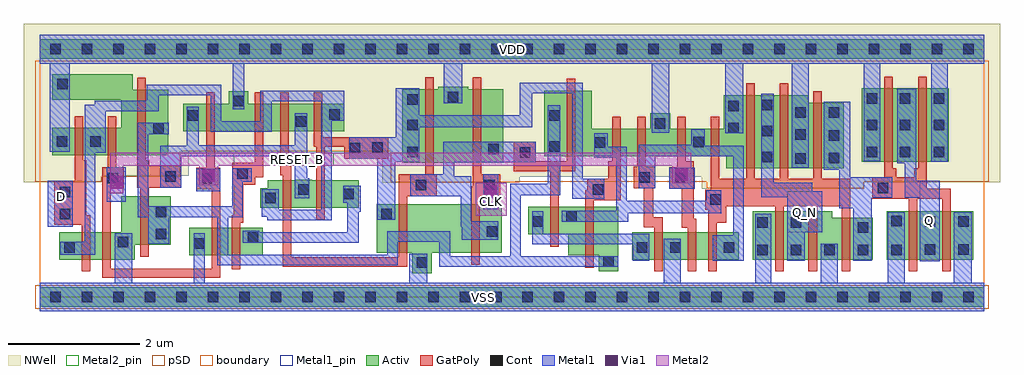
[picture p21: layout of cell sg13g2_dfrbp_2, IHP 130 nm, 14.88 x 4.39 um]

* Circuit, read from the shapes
.subckt sg13g2_dfrbp_2 CLK D Q Q_N RESET_B VDD VSS
XM1 n1 D n2 VSS sg13_lv_nmos w=0.42u l=0.13u
XM2 VSS RESET_B n1 VSS sg13_lv_nmos w=0.42u l=0.13u
XM3 n3 n4 VSS VSS sg13_lv_nmos w=0.74u l=0.13u
XM4 n5 RESET_B VSS VSS sg13_lv_nmos w=0.42u l=0.13u
XM5 n6 n3 n5 VSS sg13_lv_nmos w=0.42u l=0.13u
XM6 n4 n7 n2 VSS sg13_lv_nmos w=0.42u l=0.13u
XM7 n6 n8 n4 VSS sg13_lv_nmos w=0.42u l=0.13u
XM8 VSS n7 n8 VSS sg13_lv_nmos w=0.74u l=0.13u
XM9 n7 CLK VSS VSS sg13_lv_nmos w=0.74u l=0.13u
XM10 n9 n7 n10 VSS sg13_lv_nmos w=0.42u l=0.13u
XM11 n3 n8 n9 VSS sg13_lv_nmos w=0.74u l=0.13u
XM12 VSS n11 n10 VSS sg13_lv_nmos w=0.42u l=0.13u
XM13 n12 RESET_B VSS VSS sg13_lv_nmos w=0.42u l=0.13u
XM14 n11 n9 n12 VSS sg13_lv_nmos w=0.42u l=0.13u
XM15 Q_N n9 VSS VSS sg13_lv_nmos w=0.74u l=0.13u m=2
XM16 n13 n9 VSS VSS sg13_lv_nmos w=0.64u l=0.13u
XM17 Q n13 VSS VSS sg13_lv_nmos w=0.74u l=0.13u m=2
XM18 n2 D VDD VDD sg13_lv_pmos w=0.42u l=0.13u
XM19 VDD RESET_B n2 VDD sg13_lv_pmos w=0.42u l=0.13u
XM20 n3 n4 VDD VDD sg13_lv_pmos w=1u l=0.13u
XM21 VDD RESET_B n4 VDD sg13_lv_pmos w=0.42u l=0.13u
XM22 n14 n3 VDD VDD sg13_lv_pmos w=0.42u l=0.13u
XM23 n4 n7 n14 VDD sg13_lv_pmos w=0.42u l=0.13u
XM24 n2 n8 n4 VDD sg13_lv_pmos w=0.42u l=0.13u
XM25 VDD n7 n8 VDD sg13_lv_pmos w=1.12u l=0.13u
XM26 n7 CLK VDD VDD sg13_lv_pmos w=1.12u l=0.13u
XM27 n9 n7 n3 VDD sg13_lv_pmos w=1u l=0.13u
XM28 n15 n8 n9 VDD sg13_lv_pmos w=0.42u l=0.13u
XM29 VDD n11 n15 VDD sg13_lv_pmos w=0.42u l=0.13u
XM30 n11 RESET_B VDD VDD sg13_lv_pmos w=0.42u l=0.13u
XM31 VDD n9 n11 VDD sg13_lv_pmos w=0.42u l=0.13u
XM32 Q_N n9 VDD VDD sg13_lv_pmos w=1.12u l=0.13u m=2
XM33 n13 n9 VDD VDD sg13_lv_pmos w=1u l=0.13u
XM34 Q n13 VDD VDD sg13_lv_pmos w=1.12u l=0.13u m=2
.ends

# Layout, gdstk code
import gdstk
lib = gdstk.Library(unit=1e-6, precision=1e-09)
def R(c, l, rs):  # rectangles x0, y0, x1, y1
    for r in rs: c.add(gdstk.rectangle(r[:2], r[2:], *l))
def A(c, l, x, y, w, h, nx, ny, dx, dy):  # array of equal rectangles
    R(c, l, [(x+i*dx, y+j*dy, x+i*dx+w, y+j*dy+h) for i in range(nx) for j in range(ny)])
def P(c, l, *ps):  # polygons
    for p in ps: c.add(gdstk.Polygon(p, *l))
Activ = (1, 0)
GatPoly = (5, 0)
Cont = (6, 0)
Metal1 = (8, 0)
Metal1_pin = (8, 2)
Metal2 = (10, 0)
Metal2_pin = (10, 2)
pSD = (14, 0)
Via1 = (19, 0)
NWell = (31, 0)
boundary = (189, 4)

sg13g2_dfrbp_2 = lib.new_cell('sg13g2_dfrbp_2')
R(sg13g2_dfrbp_2, Activ, [(0,-0.15,14.4,0.15), (9.03,0.57,10.66,0.99), (12.91,0.57,14.23,1.31), (2.28,0.635,3.4,1.055), (12.535,2.06,13.86,3.18), (0,3.63,14.4,3.93)])
P(sg13g2_dfrbp_2, Activ, [(10.87,0.57),(10.87,1.31),(12.08,1.31),(12.08,1.21),(12.7,1.21),(12.7,0.57)],
  [(10.47,1.96),(10.47,2.145),(7.695,2.145),(7.695,3.145),(8.415,3.145),(8.415,2.565),(9.31,2.565),(9.31,2.8),(9.61,2.8),(9.61,2.565),(10.43,2.565),(10.43,3.08),(11.715,3.08),(11.715,2.96),(12.26,2.96),(12.26,1.96)],
  [(8.52,0.39),(8.52,0.635),(8.06,0.635),(8.06,0.955),(7.445,0.955),(7.445,1.375),(8.82,1.375),(8.82,0.39)],
  [(5.53,2.05),(5.53,3.17),(6.075,3.17),(6.075,3.205),(6.53,3.205),(6.53,3.17),(7.07,3.17),(7.07,2.05)],
  [(5.68,0.365),(5.68,0.675),(5.135,0.675),(5.135,1.415),(7.045,1.415),(7.045,0.675),(5.98,0.675),(5.98,0.365)],
  [(3.365,1.36),(3.365,1.66),(3.475,1.66),(3.475,1.78),(3.905,1.78),(3.905,1.79),(4.145,1.79),(4.145,1.78),(4.86,1.78),(4.86,1.36)],
  [(2.19,2.525),(2.19,2.945),(2.88,2.945),(2.88,3.14),(3.18,3.14),(3.18,2.945),(4.645,2.945),(4.645,2.525)],
  [(0.3,0.57),(0.3,0.99),(1.245,0.99),(1.245,1.535),(2,1.535),(2,0.795),(1.445,0.795),(1.445,0.57)],
  [(0.19,2.16),(0.19,2.58),(1.24,2.58),(1.24,3.01),(0.19,3.01),(0.19,3.395),(1.415,3.395),(1.415,3.16),(1.96,3.16),(1.96,2.16)])
P(sg13g2_dfrbp_2, GatPoly, [(13.25,0.39),(13.25,1.5),(12.69,1.5),(12.69,1.83),(12.875,1.83),(12.875,3.36),(13.005,3.36),(13.005,1.965),(13.06,1.965),(13.06,1.83),(13.33,1.83),(13.33,1.965),(13.39,1.965),(13.39,3.36),(13.52,3.36),(13.52,1.65),(13.89,1.65),(13.89,0.39),(13.76,0.39),(13.76,1.5),(13.38,1.5),(13.38,0.39)],
  [(10.19,0.39),(10.19,1.33),(10.15,1.33),(10.15,1.635),(10.23,1.635),(10.23,2.745),(10.36,2.745),(10.36,1.8),(10.77,1.8),(10.77,3.26),(10.9,3.26),(10.9,1.8),(11.28,1.8),(11.28,3.26),(11.41,3.26),(11.41,1.8),(11.79,1.8),(11.79,3.14),(11.92,3.14),(11.92,1.8),(12.36,1.8),(12.36,0.39),(12.23,0.39),(12.23,1.385),(11.85,1.385),(11.85,0.39),(11.72,0.39),(11.72,1.385),(11.34,1.385),(11.34,0.39),(11.21,0.39),(11.21,1.385),(10.465,1.385),(10.465,1.135),(10.32,1.135),(10.32,0.39)],
  [(9.88,0.39),(9.88,1.06),(9.785,1.06),(9.785,1.65),(9.595,1.65),(9.595,1.98),(9.72,1.98),(9.72,2.745),(9.85,2.745),(9.85,2.07),(9.97,2.07),(9.97,1.195),(10.01,1.195),(10.01,0.39)],
  [(9.37,0.39),(9.37,1.065),(9.205,1.065),(9.205,1.655),(9.055,1.655),(9.055,1.985),(9.11,1.985),(9.11,2.745),(9.24,2.745),(9.24,1.985),(9.385,1.985),(9.385,1.655),(9.355,1.655),(9.355,1.215),(9.5,1.215),(9.5,0.39)],
  [(8.32,0.445),(8.32,1.625),(8.345,1.625),(8.345,1.805),(8.665,1.805),(8.665,2.07),(8.73,2.07),(8.73,2.745),(8.86,2.745),(8.86,1.475),(8.45,1.475),(8.45,0.445)],
  [(7.785,0.765),(7.785,1.92),(7.23,1.92),(7.23,2.37),(7.56,2.37),(7.56,2.07),(8.035,2.07),(8.035,3.325),(8.165,3.325),(8.165,1.92),(7.915,1.92),(7.915,0.765)],
  [(6.575,0.495),(6.575,1.69),(6.6,1.69),(6.6,3.35),(6.73,3.35),(6.73,1.87),(7.02,1.87),(7.02,1.54),(6.705,1.54),(6.705,0.495)],
  [(3.705,0.465),(3.705,1.855),(3.665,1.855),(3.665,3.125),(3.795,3.125),(3.795,2.005),(3.835,2.005),(3.835,0.605),(5.475,0.605),(5.475,1.87),(5.875,1.87),(5.875,3.35),(6.005,3.35),(6.005,1.87),(6.05,1.87),(6.05,1.54),(5.605,1.54),(5.605,0.465)],
  [(4.215,1.18),(4.215,2.29),(4.175,2.29),(4.175,3.125),(4.305,3.125),(4.305,2.44),(5.315,2.44),(5.315,2.11),(4.645,2.11),(4.645,2.29),(4.345,2.29),(4.345,1.18)],
  [(2.93,0.425),(2.93,1.25),(2.955,1.25),(2.955,1.715),(2.935,1.715),(2.935,2.045),(3.275,2.045),(3.275,3.125),(3.405,3.125),(3.405,1.83),(3.285,1.83),(3.285,1.715),(3.105,1.715),(3.105,1.13),(3.06,1.13),(3.06,0.425)],
  [(0.95,0.295),(0.95,1.98),(1.04,1.98),(1.04,2.76),(1.17,2.76),(1.17,1.98),(1.28,1.98),(1.28,1.65),(1.08,1.65),(1.08,0.43),(2.62,0.43),(2.62,1.645),(2.385,1.645),(2.385,1.975),(2.54,1.975),(2.54,3.125),(2.67,3.125),(2.67,1.975),(2.75,1.975),(2.75,0.295)],
  [(1.53,0.615),(1.53,1.67),(1.49,1.67),(1.49,3.34),(1.62,3.34),(1.62,2.085),(1.67,2.085),(1.67,2),(2.155,2),(2.155,1.67),(1.66,1.67),(1.66,0.615)],
  [(0.64,0.39),(0.64,1.1),(0.22,1.1),(0.22,1.77),(0.53,1.77),(0.53,2.76),(0.66,2.76),(0.66,2.085),(0.71,2.085),(0.71,1.25),(0.77,1.25),(0.77,0.39)])
A(sg13g2_dfrbp_2, Cont, 0.16, -0.08, 0.16, 0.16, 30, 2, 0.48, 3.78)
A(sg13g2_dfrbp_2, Cont, 10.94, 0.64, 0.16, 0.16, 5, 1, 0.51, 0)
A(sg13g2_dfrbp_2, Cont, 12.03, 2.04, 0.16, 0.16, 1, 3, 0, 0.345)
A(sg13g2_dfrbp_2, Cont, 12.605, 2.135, 0.16, 0.16, 1, 3, 0, 0.405)
A(sg13g2_dfrbp_2, Cont, 13.115, 2.135, 0.16, 0.16, 1, 3, 0, 0.405)
A(sg13g2_dfrbp_2, Cont, 13.63, 2.135, 0.16, 0.16, 1, 3, 0, 0.405)
R(sg13g2_dfrbp_2, Cont, [(5.75,0.445,5.91,0.605), (8.59,0.465,8.75,0.625), (13.49,0.645,13.65,0.805), (14,0.645,14.16,0.805), (0.37,0.675,0.53,0.835), (9.1,0.675,9.26,0.835), (9.61,0.675,9.77,0.835), (10.43,0.675,10.59,0.835), (2.35,0.735,2.51,0.895), (1.19,0.76,1.35,0.92), (3.17,0.825,3.33,0.985), (1.77,0.88,1.93,1.04), (6.815,0.92,6.975,1.08), (12.47,0.98,12.63,1.14), (10.94,1.055,11.1,1.215), (11.45,1.055,11.61,1.215), (13.49,1.07,13.65,1.23), (7.515,1.075,7.675,1.235), (14,1.075,14.16,1.235), (12.98,1.08,13.14,1.24), (8.025,1.145,8.185,1.305), (0.305,1.185,0.465,1.345), (5.205,1.185,5.365,1.345), (1.77,1.22,1.93,1.38), (10.22,1.405,10.38,1.565), (3.435,1.43,3.595,1.59), (4.63,1.49,4.79,1.65), (0.305,1.525,0.465,1.685), (3.945,1.56,4.105,1.72), (8.43,1.56,8.59,1.72), (12.775,1.585,12.935,1.745), (5.735,1.625,5.895,1.785), (6.775,1.625,6.935,1.785), (2.47,1.73,2.63,1.89), (1.035,1.735,1.195,1.895), (9.68,1.735,9.84,1.895), (9.14,1.74,9.3,1.9), (1.91,1.755,2.07,1.915), (3.01,1.8,3.17,1.96), (11.52,2.035,11.68,2.195), (11.01,2.055,11.17,2.215), (7.315,2.125,7.475,2.285), (5.6,2.135,5.76,2.295), (6.84,2.175,7,2.335), (4.73,2.195,4.89,2.355), (5.07,2.2,5.23,2.36), (7.765,2.215,7.925,2.375), (8.46,2.275,8.62,2.435), (9.96,2.285,10.12,2.445), (0.26,2.29,0.42,2.45), (0.77,2.295,0.93,2.455), (11.52,2.395,11.68,2.555), (11.01,2.455,11.17,2.615), (1.73,2.49,1.89,2.65), (10.5,2.495,10.66,2.655), (5.6,2.54,5.76,2.7), (9.38,2.565,9.54,2.725), (3.905,2.595,4.065,2.755), (2.26,2.69,2.42,2.85), (7.765,2.69,7.925,2.85), (4.415,2.705,4.575,2.865), (11.52,2.735,11.68,2.895), (10.5,2.835,10.66,2.995), (11.01,2.845,11.17,3.005), (2.95,2.91,3.11,3.07), (5.6,2.935,5.76,3.095), (6.22,2.97,6.38,3.13), (0.265,3.165,0.425,3.325)])
R(sg13g2_dfrbp_2, Metal1, [(0.125,1.07,0.5,1.77), (6.76,1.335,6.99,1.87), (1.025,1.45,1.315,1.98), (2.385,1.61,2.755,1.955), (9.595,1.65,9.985,1.97)])
P(sg13g2_dfrbp_2, Metal1, [(0,-0.22),(0,0.22),(1.14,0.22),(1.14,0.975),(1.41,0.975),(1.41,0.22),(2.345,0.22),(2.345,0.97),(2.515,0.97),(2.515,0.22),(5.635,0.22),(5.635,0.66),(5.91,0.66),(5.91,0.22),(9.51,0.22),(9.51,0.885),(9.77,0.885),(9.77,0.22),(10.91,0.22),(10.91,1.27),(11.155,1.27),(11.155,0.22),(11.91,0.22),(11.91,0.81),(12.17,0.81),(12.17,0.22),(12.93,0.22),(12.93,1.29),(13.19,1.29),(13.19,0.22),(13.935,0.22),(13.935,1.295),(14.21,1.295),(14.21,0.22),(14.4,0.22),(14.4,-0.22)],
  [(11.465,1.975),(11.465,3.56),(10.725,3.56),(10.725,2.495),(10.45,2.495),(10.45,3.56),(9.595,3.56),(9.595,2.505),(9.33,2.505),(9.33,3.56),(6.445,3.56),(6.445,2.955),(6.16,2.955),(6.16,3.56),(3.115,3.56),(3.115,2.86),(2.945,2.86),(2.945,3.56),(0.46,3.56),(0.46,2.215),(0.15,2.215),(0.15,3.56),(0,3.56),(0,4),(14.4,4),(14.4,3.56),(13.84,3.56),(13.84,2.06),(13.59,2.06),(13.59,3.56),(12.815,3.56),(12.815,2.07),(12.56,2.07),(12.56,3.56),(11.725,3.56),(11.725,1.975)],
  [(13.42,0.545),(13.42,1.515),(13.19,1.515),(13.19,2.04),(13.07,2.04),(13.07,3.175),(13.36,3.175),(13.36,1.775),(13.72,1.775),(13.72,0.545)],
  [(12.4,0.55),(12.4,1.355),(12.19,1.355),(12.19,1.94),(11.95,1.94),(11.95,2.98),(12.36,2.98),(12.36,1.83),(13,1.83),(13,1.515),(12.685,1.515),(12.685,0.55)],
  [(11.395,0.55),(11.395,1.52),(11,1.52),(11,3.1),(11.19,3.1),(11.19,1.74),(11.78,1.74),(11.78,1.61),(11.93,1.61),(11.93,0.99),(11.66,0.99),(11.66,0.55)],
  [(10.26,0.55),(10.26,0.945),(10.57,0.945),(10.57,2.15),(9.385,2.15),(9.385,1.655),(9.13,1.655),(9.13,2.32),(9.935,2.32),(9.935,2.555),(10.14,2.555),(10.14,2.31),(10.73,2.31),(10.73,0.55)],
  [(7.96,1.145),(7.96,1.315),(8.79,1.315),(8.79,2.125),(8.455,2.125),(8.455,2.5),(8.66,2.5),(8.66,2.295),(8.95,2.295),(8.95,1.465),(10.165,1.465),(10.165,1.625),(10.39,1.625),(10.39,1.275),(8.97,1.275),(8.97,1.145)],
  [(9.04,0.55),(9.04,0.805),(7.51,0.805),(7.51,1.31),(7.68,1.31),(7.68,0.965),(9.29,0.965),(9.29,0.55)],
  [(6.09,0.465),(6.09,0.84),(5.455,0.84),(5.455,0.485),(2.705,0.485),(2.705,1.215),(1.975,1.215),(1.975,0.815),(1.655,0.815),(1.655,1.215),(1.495,1.215),(1.495,2.655),(1.97,2.655),(1.97,2.485),(1.655,2.485),(1.655,1.385),(2.935,1.385),(2.935,1.965),(3.23,1.965),(3.23,1.755),(3.095,1.755),(3.095,1.215),(2.875,1.215),(2.875,0.645),(5.295,0.645),(5.295,1),(6.255,1),(6.255,0.625),(7.17,0.625),(7.17,1.725),(7.745,1.725),(7.745,2.925),(7.935,2.925),(7.935,1.555),(7.33,1.555),(7.33,0.625),(8.82,0.625),(8.82,0.465)],
  [(5.145,1.18),(5.145,2.11),(4.72,2.11),(4.72,2.44),(5.425,2.44),(5.425,3.18),(5.785,3.18),(5.785,2.77),(7.315,2.77),(7.315,3.265),(8.275,3.265),(8.275,1.805),(8.605,1.805),(8.605,1.5),(8.115,1.5),(8.115,3.105),(7.505,3.105),(7.505,2.59),(5.785,2.59),(5.785,2.06),(5.42,2.06),(5.42,1.18)],
  [(6.435,0.87),(6.435,1.075),(6.42,1.075),(6.42,1.54),(5.65,1.54),(5.65,1.87),(6.15,1.87),(6.15,2.37),(7.56,2.37),(7.56,2.055),(6.32,2.055),(6.32,1.845),(6.58,1.845),(6.58,1.155),(6.99,1.155),(6.99,0.87)],
  [(3.095,0.825),(3.095,1.01),(3.345,1.01),(3.345,0.99),(4.685,0.99),(4.685,1.44),(4.63,1.44),(4.63,1.7),(4.895,1.7),(4.895,1.3),(4.865,1.3),(4.865,0.83),(3.46,0.83),(3.46,0.825)],
  [(0.315,0.645),(0.315,0.84),(0.685,0.84),(0.685,2.935),(0.84,2.935),(0.84,2.995),(1.63,2.995),(1.63,3.24),(2.765,3.24),(2.765,2.68),(3.365,2.68),(3.365,3.145),(4.645,3.145),(4.645,2.685),(4.45,2.685),(4.45,1.17),(3.465,1.17),(3.465,1.225),(3.385,1.225),(3.385,1.64),(3.645,1.64),(3.645,1.33),(4.29,1.33),(4.29,2.985),(3.535,2.985),(3.535,2.52),(2.605,2.52),(2.605,3.08),(1.815,3.08),(1.815,2.835),(1.01,2.835),(1.01,2.2),(0.845,2.2),(0.845,0.645)],
  [(3.89,1.51),(3.89,2.145),(2.155,2.145),(2.155,1.67),(1.835,1.67),(1.835,2.305),(2.245,2.305),(2.245,2.9),(2.425,2.9),(2.425,2.315),(3.89,2.315),(3.89,2.805),(4.075,2.805),(4.075,1.81),(4.11,1.81),(4.11,1.51)])
R(sg13g2_dfrbp_2, Metal1_pin, [(0,-0.22,14.4,0.22), (13.42,0.545,13.72,1.775), (11.395,0.99,11.93,1.61), (0.125,1.07,0.5,1.77), (0,3.56,14.4,4)])
R(sg13g2_dfrbp_2, Metal2, [(6.65,1.24,7.12,1.745)])
P(sg13g2_dfrbp_2, Metal2, [(1.075,1.58),(1.075,2.2),(9.93,2.2),(9.93,1.735),(9.64,1.735),(9.64,2),(2.72,2),(2.72,1.705),(2.43,1.705),(2.43,2),(1.275,2),(1.275,1.58)])
R(sg13g2_dfrbp_2, Metal2_pin, [(6.65,1.24,7.12,1.745), (2.96,2,4.485,2.2)])
R(sg13g2_dfrbp_2, pSD, [(-0.07,-0.18,14.47,0.18)])
P(sg13g2_dfrbp_2, pSD, [(10.17,1.66),(10.17,1.76),(7.245,1.76),(7.245,1.75),(5.35,1.75),(5.35,2.225),(2.14,2.225),(2.14,1.835),(0.945,1.835),(0.945,1.76),(-0.07,1.76),(-0.07,3.6),(14.47,3.6),(14.47,1.76),(12.56,1.76),(12.56,1.66)])
R(sg13g2_dfrbp_2, Via1, [(6.78,1.515,6.97,1.705), (1.08,1.66,1.27,1.85), (2.48,1.755,2.67,1.945), (9.69,1.77,9.88,1.96)])
P(sg13g2_dfrbp_2, NWell, [(10.095,1.65),(10.095,1.835),(7.315,1.835),(7.315,1.74),(5.22,1.74),(5.22,2.215),(2.27,2.215),(2.27,1.85),(0.935,1.85),(0.935,1.75),(-0.24,1.75),(-0.24,4.17),(14.64,4.17),(14.64,1.75),(12.57,1.75),(12.57,1.65)])
R(sg13g2_dfrbp_2, boundary, [(0,0,14.4,3.78)])
sg13g2_dfrbp_2.add(gdstk.Label('VSS', (6.77,0), layer=8, texttype=25))
sg13g2_dfrbp_2.add(gdstk.Label('CLK', (6.89,1.455), layer=10, texttype=25))
sg13g2_dfrbp_2.add(gdstk.Label('RESET_B', (3.935,2.1), layer=10, texttype=25))
sg13g2_dfrbp_2.add(gdstk.Label('D', (0.325,1.53), layer=8, texttype=1))
sg13g2_dfrbp_2.add(gdstk.Label('Q_N', (11.66,1.295), layer=8, texttype=1))
sg13g2_dfrbp_2.add(gdstk.Label('Q', (13.565,1.17), layer=8, texttype=1))
sg13g2_dfrbp_2.add(gdstk.Label('VDD', (7.205,3.768), layer=8, texttype=1))

lib.write_gds('sg13g2_dfrbp_2.gds')
